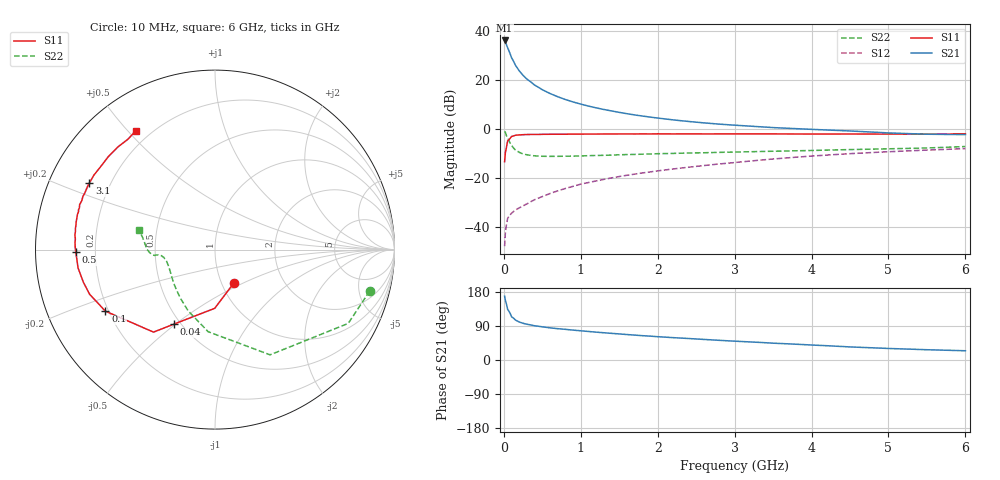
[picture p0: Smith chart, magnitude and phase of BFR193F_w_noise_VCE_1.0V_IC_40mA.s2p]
! Infineon Technologies  Discrete & RF Semiconductors
! BFR193F
! VCE =  1.0 V,  IC =  40 mA
! Common Emitter S-Parameters:  Jan 2017
# GHz  S  MA  R  50
!  f  S11  S21  S12  S22
! GHz  MAG  ANG  MAG  ANG  MAG  ANG  MAG  ANG
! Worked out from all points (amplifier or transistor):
!   77 points, 10 MHz to 6 GHz, reference 50 ohm
!   highest |S21| = 36.2 dB at 10 MHz (marker M1)
!   |S21| within 3 dB of that: start of sweep to 49.75 MHz
!   unconditionally stable (mu >= 1): 668.4 MHz to 2.972 GHz
!   at 130 MHz: K = 0.50, MSG = 30.6 dB, |S12| = -33.7 dB
!   at 2.2 GHz: K = 1.04, MAG = 8.8 dB, |S12| = -16.4 dB
!   at 6 GHz: K = 0.93, MSG = 2.9 dB, |S12| = -8.1 dB
!   lowest NFmin = 1.34 dB at 450 MHz
!   S11 on the Smith chart (normalised r, x): 10 MHz: 1.14, -0.44; 40 MHz: 0.46, -0.49; 100 MHz: 0.19, -0.25; 500 MHz: 0.13, -0.01; 3.1 GHz: 0.12, +0.24; 6 GHz: 0.15, +0.53
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0.01  0.2133 -60.3  64.59 168.4  0.004 78.2  0.8923 -15.0
0.02  0.3273 -90.3  61.05 156.9  0.0076 69.9  0.8485 -29.0
0.04  0.4745 -118.9  49.72 142.6  0.0124 58.8  0.6949 -49.5
0.05  0.5733 -126.7  45.63 133.1  0.0149 56.0  0.6616 -62.4
0.1  0.7006 -150.7  28.66 114.1  0.0189 46.8  0.4589 -94.8
0.15  0.7419 -160.5  20.21 105.5  0.0219 45.7  0.373 -113.6
0.2  0.7556 -166.1  15.46 100.3  0.0243 48.9  0.3324 -125.5
0.25  0.7631 -169.9  12.47 96.9  0.0267 51.6  0.3077 -134.9
0.3  0.7698 -172.4  10.47 94.3  0.0293 54.3  0.2962 -141.2
0.4  0.7718 -176.3  7.897 90.3  0.0357 58.9  0.2816 -150.3
0.5  0.7758 -178.9  6.346 87.5  0.0413 62.7  0.2761 -156.1
0.6  0.7789 179.0  5.313 84.9  0.0478 64.6  0.2748 -160.2
0.7  0.781 177.0  4.565 82.7  0.0541 67.3  0.2754 -162.9
0.8  0.7801 175.7  4 80.9  0.0606 68.0  0.2769 -165.5
0.9  0.7849 174.0  3.567 78.9  0.0671 68.9  0.278 -167.2
1.1  0.7865 171.4  2.936 75.3  0.0801 70.1  0.2841 -169.5
1.5  0.7898 166.8  2.184 68.8  0.1063 70.8  0.2963 -172.6
2.1  0.7927 160.8  1.601 60.3  0.1452 70.6  0.3137 -174.4
3.1  0.7923 152.1  1.168 48.7  0.2128 68.0  0.3394 -174.6
4.1  0.7868 142.7  0.966 38.6  0.2854 62.8  0.3658 -177.7
5.1  0.7859 132.4  0.819 29.8  0.3472 56.2  0.3953 174.1
6  0.7958 123.8  0.765 24.4  0.3955 50.4  0.4369 165.8
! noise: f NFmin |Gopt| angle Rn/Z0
0.45  1.34  0.43  179  0.06
0.9  1.42  0.44  180  0.07
1.9  1.98  0.59  -165  0.08
2.4  2.27  0.61  -157  0.13
